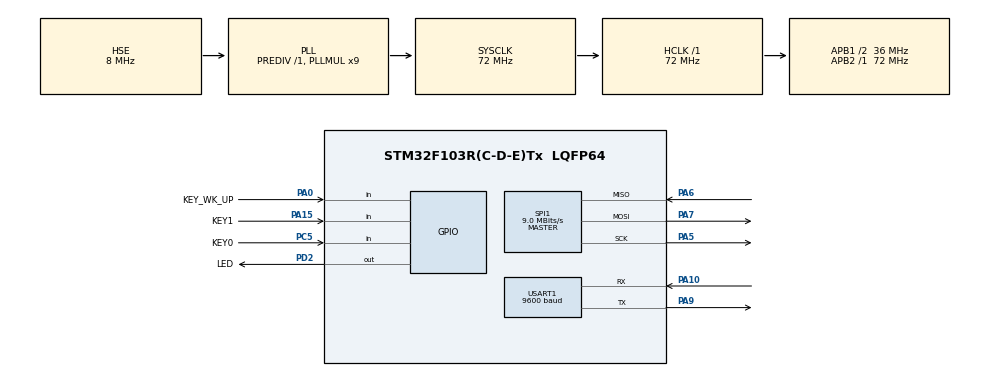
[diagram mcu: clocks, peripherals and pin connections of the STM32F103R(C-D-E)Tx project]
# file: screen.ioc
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Mcu.Family=STM32F1
Mcu.Name=STM32F103R(C-D-E)Tx
Mcu.Package=LQFP64
NVIC.PriorityGroup=NVIC_PRIORITYGROUP_4
NVIC.USART1_IRQn=true\:1\:0\:true\:false\:true\:true\:true\:true
PA0-WKUP.GPIO_Label=KEY_WK_UP
PA0-WKUP.GPIO_PuPd=GPIO_PULLDOWN
PA0-WKUP.Signal=GPIO_Input
PA10.Mode=Asynchronous
PA10.Signal=USART1_RX
PA13.Mode=Serial_Wire
PA13.Signal=SYS_JTMS-SWDIO
PA14.Mode=Serial_Wire
PA14.Signal=SYS_JTCK-SWCLK
PA15.GPIO_Label=KEY1
PA15.GPIO_PuPd=GPIO_PULLUP
PA15.Signal=GPIO_Input
PA5.Mode=Full_Duplex_Master
PA5.Signal=SPI1_SCK
PA6.Mode=Full_Duplex_Master
PA6.Signal=SPI1_MISO
PA7.Mode=Full_Duplex_Master
PA7.Signal=SPI1_MOSI
PA9.Mode=Asynchronous
PA9.Signal=USART1_TX
PC5.GPIO_Label=KEY0
PC5.GPIO_PuPd=GPIO_PULLUP
PC5.Signal=GPIO_Input
PD0-OSC_IN.Mode=HSE-External-Oscillator
PD0-OSC_IN.Signal=RCC_OSC_IN
PD1-OSC_OUT.Mode=HSE-External-Oscillator
PD1-OSC_OUT.Signal=RCC_OSC_OUT
PD2.GPIO_Label=LED
PD2.Signal=GPIO_Output
ProjectManager.HeapSize=0x200
ProjectManager.StackSize=0x400
ProjectManager.TargetToolchain=STM32CubeIDE
RCC.AHBFreq_Value=72000000
RCC.APB1CLKDivider=RCC_HCLK_DIV2
RCC.APB1Freq_Value=36000000
RCC.APB1TimFreq_Value=72000000
RCC.APB2Freq_Value=72000000
RCC.APB2TimFreq_Value=72000000
RCC.HCLKFreq_Value=72000000
RCC.PLLMUL=RCC_PLL_MUL9
RCC.PLLSourceVirtual=RCC_PLLSOURCE_HSE
RCC.SYSCLKFreq_VALUE=72000000
RCC.SYSCLKSource=RCC_SYSCLKSOURCE_PLLCLK
RCC.USBFreq_Value=72000000
SPI1.BaudRatePrescaler=SPI_BAUDRATEPRESCALER_8
SPI1.CalculateBaudRate=9.0 MBits/s
SPI1.Direction=SPI_DIRECTION_2LINES
SPI1.Mode=SPI_MODE_MASTER
SPI1.VirtualType=VM_MASTER
TIM3.Period=99
TIM3.Prescaler=7199
USART1.BaudRate=9600
USART1.VirtualMode=VM_ASYNC
VP_TIM3_VS_ClockSourceINT.Mode=Internal
board=custom

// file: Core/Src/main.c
/* USER CODE BEGIN Header */
/**
 ******************************************************************************
 * @file           : main.c
 * @brief          : Main program body
 ******************************************************************************
 * @attention
 *
 * Copyright (c) 2022 STMicroelectronics.
 * All rights reserved.
 *
 * This software is licensed under terms that can be found in the LICENSE file
 * in the root directory of this software component.
 * If no LICENSE file comes with this software, it is provided AS-IS.
 *
 *************************************************************************······*****
 */
/* USER CODE END Header */
#include "main.h"

/* USER CODE BEGIN Includes */

/* Private includes ----------------------------------------------------------*/
/* USER CODE BEGIN Includes */
#include "sys.h"
#include "delay.h"
//#include "usart.h"
#include "led.h"
#include "key.h"
#include "lcd.h"
//#include "usmart.h"
#include "touch.h"
#include "24cxx.h"
#include "24l01.h" //通信驱动 基于spi进行通信
#include "image.h"
#include "blt.h"
#include "lcd_v4.h"
//#include "remote.h" 红外遥控驱动
/* USER CODE END Includes */

SPI_HandleTypeDef hspi1;

TIM_HandleTypeDef htim3;

UART_HandleTypeDef huart1;

/* USER CODE BEGIN PV */
extern uint8_t rx_data;
extern u8 mode;
/* USER CODE END PV */

void SystemClock_Config(void);
static void MX_GPIO_Init(void);
static void MX_SPI1_Init(void);
static void MX_USART1_UART_Init(void);
static void MX_TIM3_Init(void);

int main(void)
{

  /* MCU Configuration--------------------------------------------------------*/

  /* Reset of all peripherals, Initializes the Flash interface and the Systick. */
  HAL_Init();

  /* USER CODE BEGIN Init */
	Stm32_Clock_Init(RCC_PLL_MUL9);   	//设置时钟,72M
	delay_init(72);
	LED_Init();							//初始化LED
	KEY_Init();							//初始化按�?
	LCD_Init();							//初始化LCD
	tp_dev.init();				   		//触摸屏初始化
	lcd_init();
  /* USER CODE END Init */

  /* Configure the system clock */
  SystemClock_Config();

  /* Initialize all configured peripherals */
  MX_GPIO_Init();
  MX_SPI1_Init();
  MX_USART1_UART_Init();
  MX_TIM3_Init();
  /* USER CODE BEGIN 2 */
  Master_UART_Init();
	POINT_COLOR=RED;
	game();
  /* USER CODE END 2 */

  /* Infinite loop */

}

void SystemClock_Config(void)
{
  RCC_OscInitTypeDef RCC_OscInitStruct = {0};
  RCC_ClkInitTypeDef RCC_ClkInitStruct = {0};

  /** Initializes the RCC Oscillators according to the specified parameters
  * in the RCC_OscInitTypeDef structure.
  */
  RCC_OscInitStruct.OscillatorType = RCC_OSCILLATORTYPE_HSE;
  RCC_OscInitStruct.HSEState = RCC_HSE_ON;
  RCC_OscInitStruct.HSEPredivValue = RCC_HSE_PREDIV_DIV1;
  RCC_OscInitStruct.HSIState = RCC_HSI_ON;
  RCC_OscInitStruct.PLL.PLLState = RCC_PLL_ON;
  RCC_OscInitStruct.PLL.PLLSource = RCC_PLLSOURCE_HSE;
  RCC_OscInitStruct.PLL.PLLMUL = RCC_PLL_MUL9;
  if (HAL_RCC_OscConfig(&RCC_OscInitStruct) != HAL_OK)
  {
    Error_Handler();
  }

  /** Initializes the CPU, AHB and APB buses clocks
  */
  RCC_ClkInitStruct.ClockType = RCC_CLOCKTYPE_HCLK|RCC_CLOCKTYPE_SYSCLK
                              |RCC_CLOCKTYPE_PCLK1|RCC_CLOCKTYPE_PCLK2;
  RCC_ClkInitStruct.SYSCLKSource = RCC_SYSCLKSOURCE_PLLCLK;
  RCC_ClkInitStruct.AHBCLKDivider = RCC_SYSCLK_DIV1;
  RCC_ClkInitStruct.APB1CLKDivider = RCC_HCLK_DIV2;
  RCC_ClkInitStruct.APB2CLKDivider = RCC_HCLK_DIV1;

  if (HAL_RCC_ClockConfig(&RCC_ClkInitStruct, FLASH_LATENCY_2) != HAL_OK)
  {
    Error_Handler();
  }
}

static void MX_SPI1_Init(void)
{

  /* SPI1 parameter configuration*/
  hspi1.Instance = SPI1;
  hspi1.Init.Mode = SPI_MODE_MASTER;
  hspi1.Init.Direction = SPI_DIRECTION_2LINES;
  hspi1.Init.DataSize = SPI_DATASIZE_8BIT;
  hspi1.Init.CLKPolarity = SPI_POLARITY_LOW;
  hspi1.Init.CLKPhase = SPI_PHASE_1EDGE;
  hspi1.Init.NSS = SPI_NSS_SOFT;
  hspi1.Init.BaudRatePrescaler = SPI_BAUDRATEPRESCALER_8;
  hspi1.Init.FirstBit = SPI_FIRSTBIT_MSB;
  hspi1.Init.TIMode = SPI_TIMODE_DISABLE;
  hspi1.Init.CRCCalculation = SPI_CRCCALCULATION_DISABLE;
  hspi1.Init.CRCPolynomial = 10;
  if (HAL_SPI_Init(&hspi1) != HAL_OK)
  {
    Error_Handler();
  }

}

static void MX_TIM3_Init(void)
{

  TIM_ClockConfigTypeDef sClockSourceConfig = {0};
  TIM_MasterConfigTypeDef sMasterConfig = {0};

  htim3.Instance = TIM3;
  htim3.Init.Prescaler = 7199;
  htim3.Init.CounterMode = TIM_COUNTERMODE_UP;
  htim3.Init.Period = 99;
  htim3.Init.ClockDivision = TIM_CLOCKDIVISION_DIV1;
  htim3.Init.AutoReloadPreload = TIM_AUTORELOAD_PRELOAD_DISABLE;
  if (HAL_TIM_Base_Init(&htim3) != HAL_OK)
  {
    Error_Handler();
  }
  sClockSourceConfig.ClockSource = TIM_CLOCKSOURCE_INTERNAL;
  if (HAL_TIM_ConfigClockSource(&htim3, &sClockSourceConfig) != HAL_OK)
  {
    Error_Handler();
  }
  sMasterConfig.MasterOutputTrigger = TIM_TRGO_RESET;
  sMasterConfig.MasterSlaveMode = TIM_MASTERSLAVEMODE_DISABLE;
  if (HAL_TIMEx_MasterConfigSynchronization(&htim3, &sMasterConfig) != HAL_OK)
  {
    Error_Handler();
  }

}

static void MX_USART1_UART_Init(void)
{

  /* USER CODE BEGIN USART1_Init 0 */

	   HAL_GPIO_TogglePin(LED_GPIO_Port, LED_GPIO_Port);
	   HAL_Delay(500);
	   HAL_GPIO_TogglePin(LED_GPIO_Port, LED_GPIO_Port);
  /* USER CODE END USART1_Init 0 */

  huart1.Instance = USART1;
  huart1.Init.BaudRate = 9600;
  huart1.Init.WordLength = UART_WORDLENGTH_8B;
  huart1.Init.StopBits = UART_STOPBITS_1;
  huart1.Init.Parity = UART_PARITY_NONE;
  huart1.Init.Mode = UART_MODE_TX_RX;
  huart1.Init.HwFlowCtl = UART_HWCONTROL_NONE;
  huart1.Init.OverSampling = UART_OVERSAMPLING_16;
  if (HAL_UART_Init(&huart1) != HAL_OK)
  {
    Error_Handler();
  }

}

static void MX_GPIO_Init(void)
{
  GPIO_InitTypeDef GPIO_InitStruct = {0};

  /* GPIO Ports Clock Enable */
  __HAL_RCC_GPIOD_CLK_ENABLE();
  __HAL_RCC_GPIOA_CLK_ENABLE();
  __HAL_RCC_GPIOC_CLK_ENABLE();

  /*Configure GPIO pin Output Level */
  HAL_GPIO_WritePin(LED_GPIO_Port, LED_Pin, GPIO_PIN_RESET);

  /*Configure GPIO pin : KEY_WK_UP_Pin */
  GPIO_InitStruct.Pin = KEY_WK_UP_Pin;
  GPIO_InitStruct.Mode = GPIO_MODE_INPUT;
  GPIO_InitStruct.Pull = GPIO_PULLDOWN;
  HAL_GPIO_Init(KEY_WK_UP_GPIO_Port, &GPIO_InitStruct);

  /*Configure GPIO pin : KEY0_Pin */
  GPIO_InitStruct.Pin = KEY0_Pin;
  GPIO_InitStruct.Mode = GPIO_MODE_INPUT;
  GPIO_InitStruct.Pull = GPIO_PULLUP;
  HAL_GPIO_Init(KEY0_GPIO_Port, &GPIO_InitStruct);

  /*Configure GPIO pin : KEY1_Pin */
  GPIO_InitStruct.Pin = KEY1_Pin;
  GPIO_InitStruct.Mode = GPIO_MODE_INPUT;
  GPIO_InitStruct.Pull = GPIO_PULLUP;
  HAL_GPIO_Init(KEY1_GPIO_Port, &GPIO_InitStruct);

  /*Configure GPIO pin : LED_Pin */
  GPIO_InitStruct.Pin = LED_Pin;
  GPIO_InitStruct.Mode = GPIO_MODE_OUTPUT_PP;
  GPIO_InitStruct.Pull = GPIO_NOPULL;
  GPIO_InitStruct.Speed = GPIO_SPEED_FREQ_LOW;
  HAL_GPIO_Init(LED_GPIO_Port, &GPIO_InitStruct);

}

/* USER CODE BEGIN 4 */
void HAL_UART_RxCpltCallback(UART_HandleTypeDef *huart)
{
    if (huart->Instance == USART1)
    {
    	char info[30];
    	snprintf(info, 30, "Receiving: %u", rx_data);
    	lcd_show_string(30, 170, 200, 16, 16, info, BLUE);
        // 处理小车回传的信息
    	if(mode == 2){
    		Process_Response(rx_data);
    	}

        // 重新启动接收
        HAL_UART_Receive_IT(&huart1, &rx_data, 1);
    }
}
/* USER CODE END 4 */

void Error_Handler(void)
{
	__disable_irq();
	while (1)
	{
	}
}
